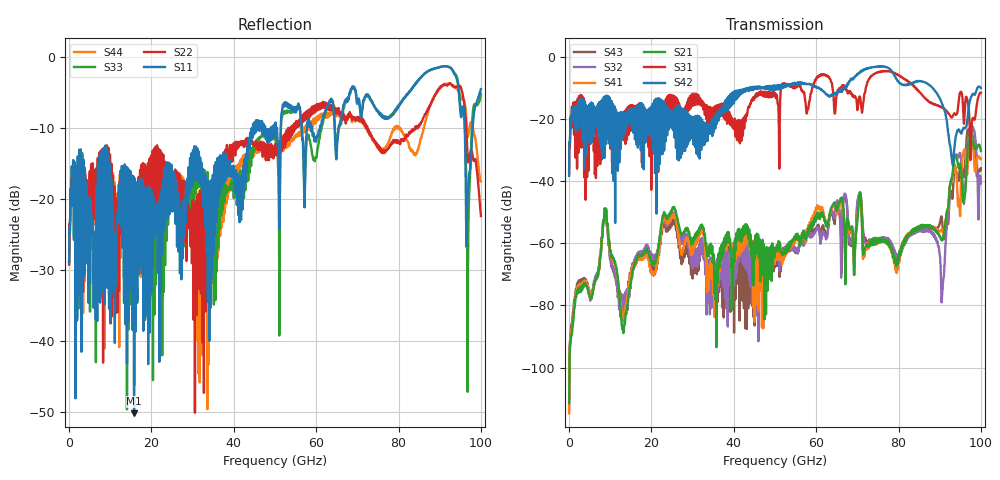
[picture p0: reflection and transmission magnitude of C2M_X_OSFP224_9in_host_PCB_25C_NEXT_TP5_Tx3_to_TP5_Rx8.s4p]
# GHz S RI R 45
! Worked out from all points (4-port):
!   4000 points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, 25 MHz to 100 GHz, reference 45 ohm
!   strongest paths, dB at 25 MHz, 25.02 GHz, 50.02 GHz, 75.03 GHz, 100 GHz:
!     S42: -38.3, -18.0, -10.6, -3.3, -10.1
!     S31: -37.7, -14.6, -12.1, -5.0, -11.6
!     S21: -111.4, -49.3, -61.6, -59.5, -30.4
!     S41: -114.7, -51.6, -64.0, -58.8, -32.8
!     S32: -113.9, -51.4, -62.2, -59.3, -40.8
!     S43: -105.9, -53.6, -67.1, -58.4, -35.9
!   lowest |S11| = -50.2 dB at 15.8 GHz (marker M1), VSWR 1.01, Z = 44.9 - j0.236 ohm
!   |S11| at or under -10 dB: start of sweep to 44.63 GHz; 59.03 GHz to 60.91 GHz (1.884 GHz wide, 3.14 % of centre); 96.08 GHz to 98 GHz (1.927 GHz wide, 1.99 % of centre) (the widest 3 of 20)
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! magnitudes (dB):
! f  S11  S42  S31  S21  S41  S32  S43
! 25 MHz  -28.9  -38.3  -37.7  -111.4  -114.7  -113.9  -105.9
! 8.75 GHz  -14.3  -14.9  -15.4  -49.7  -49.8  -50.2  -50.4
! 15.8 GHz  -50.2  -16.9  -21.1  -67.1  -67.2  -65.8  -66.2
! 67 GHz  -6.1  -10.2  -9.7  -62.4  -62.9  -44.0  -44.7
! 90.67 GHz  -1.4  -15.5  -16.5  -59.0  -56.5  -75.3  -54.4
! 93.85 GHz  -2.7  -26.0  -18.6  -32.0  -35.7  -31.6  -36.5
! 100 GHz  -4.6  -10.1  -11.6  -30.4  -32.8  -40.8  -35.9
